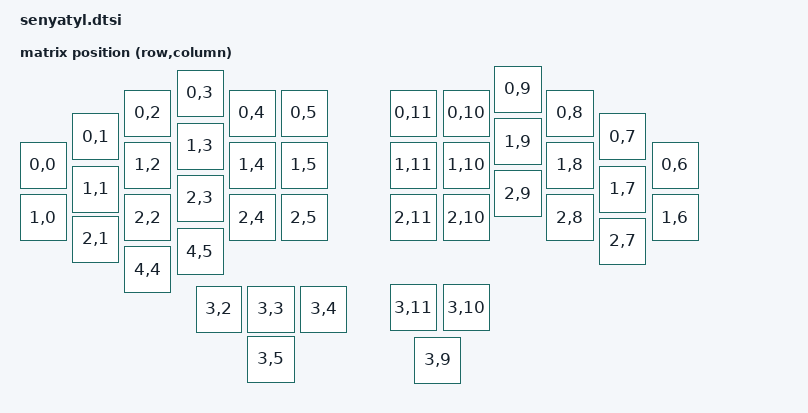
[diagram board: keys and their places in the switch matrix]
#include <dt-bindings/zmk/matrix_transform.h>

#include <physical_layouts.dtsi>

&uicr {
    nfct-pins-as-gpios;
};

/ {
    chosen {
        zmk,kscan = &kscan0;
        zmk,physical-layouts = &physical_layout_0;
    };

    default_transform: keymap_transform_0 {
        compatible = "zmk,matrix-transform";
        columns = <12>;
        rows = <5>;

        map = <
            RC(0,0) RC(0,1) RC(0,2) RC(0,3) RC(0,4) RC(0,5)      RC(0,11) RC(0,10) RC(0,9) RC(0,8) RC(0,7) RC(0,6)
            RC(1,0) RC(1,1) RC(1,2) RC(1,3) RC(1,4) RC(1,5)      RC(1,11) RC(1,10) RC(1,9) RC(1,8) RC(1,7) RC(1,6)
            RC(2,1) RC(2,2) RC(2,3) RC(2,4) RC(2,5)              RC(2,11) RC(2,10) RC(2,9) RC(2,8) RC(2,7)
                    RC(3,2) RC(3,3) RC(3,4) RC(3,5)              RC(3,11) RC(3,10) RC(3,9)
                                    RC(4,4) RC(4,5)
        >;
    };

    physical_layout_0: physical_layout_0 {
        compatible = "zmk,physical-layout";
        display-name = "Default";
        kscan = <&kscan0>;
        transform = <&default_transform>;

        keys
            = <&key_physical_attrs 100 100    0 152 0    0 152>
            , <&key_physical_attrs 100 100  105  95 0  105  95>
            , <&key_physical_attrs 100 100  209  48 0  209  48>
            , <&key_physical_attrs 100 100  314   8 0  314   8>
            , <&key_physical_attrs 100 100  418  48 0  418  48>
            , <&key_physical_attrs 100 100  522  48 0  522  48>
            , <&key_physical_attrs 100 100  741  48 0  741  48>
            , <&key_physical_attrs 100 100  846  48 0  846  48>
            , <&key_physical_attrs 100 100  950   0 0  950   0>
            , <&key_physical_attrs 100 100 1054  48 0 1054  48>
            , <&key_physical_attrs 100 100 1159  95 0 1159  95>
            , <&key_physical_attrs 100 100 1264 152 0 1264 152>
            , <&key_physical_attrs 100 100    0 257 0    0 257>
            , <&key_physical_attrs 100 100  105 200 0  105 200>
            , <&key_physical_attrs 100 100  209 152 0  209 152>
            , <&key_physical_attrs 100 100  314 114 0  314 114>
            , <&key_physical_attrs 100 100  418 152 0  418 152>
            , <&key_physical_attrs 100 100  522 152 0  522 152>
            , <&key_physical_attrs 100 100  741 152 0  741 152>
            , <&key_physical_attrs 100 100  846 152 0  846 152>
            , <&key_physical_attrs 100 100  950 105 0  950 105>
            , <&key_physical_attrs 100 100 1054 152 0 1054 152>
            , <&key_physical_attrs 100 100 1159 200 0 1159 200>
            , <&key_physical_attrs 100 100 1264 257 0 1264 257>
            , <&key_physical_attrs 100 100  105 300 0  105 300>
            , <&key_physical_attrs 100 100  209 257 0  209 257>
            , <&key_physical_attrs 100 100  314 218 0  314 218>
            , <&key_physical_attrs 100 100  418 257 0  418 257>
            , <&key_physical_attrs 100 100  522 257 0  522 257>
            , <&key_physical_attrs 100 100  741 257 0  741 257>
            , <&key_physical_attrs 100 100  846 257 0  846 257>
            , <&key_physical_attrs 100 100  950 209 0  950 209>
            , <&key_physical_attrs 100 100 1054 257 0 1054 257>
            , <&key_physical_attrs 100 100 1159 304 0 1159 304>
            , <&key_physical_attrs 100 100  352 440 0  352 440>
            , <&key_physical_attrs 100 100  456 440 0  456 440>
            , <&key_physical_attrs 100 100  561 440 0  561 440>
            , <&key_physical_attrs 100 100  456 540 0  456 540>
            , <&key_physical_attrs 100 100  741 437 0  741 437>
            , <&key_physical_attrs 100 100  846 437 0  846 437>
            , <&key_physical_attrs 100 100  789 542 0  789 542>
            , <&key_physical_attrs 100 100  209 361 0  209 361>
            , <&key_physical_attrs 100 100  314 325 0  314 325>
            ;
    };

    kscan0: kscan {
        compatible = "zmk,kscan-gpio-matrix";
        label = "KSCAN";
        diode-direction = "row2col";
    };
};
